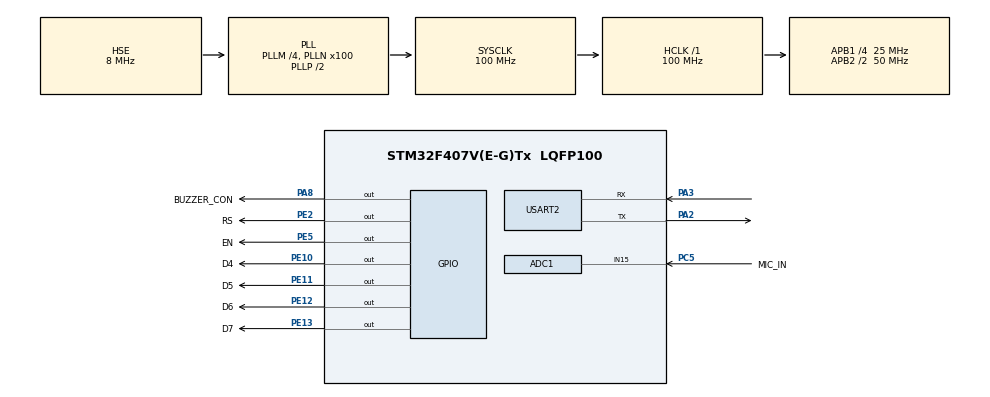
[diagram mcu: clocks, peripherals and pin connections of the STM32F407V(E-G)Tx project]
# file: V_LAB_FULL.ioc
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ADC1.Channel-0\#ChannelRegularConversion=ADC_CHANNEL_15
ADC1.ClockPrescaler=ADC_CLOCK_SYNC_PCLK_DIV8
ADC1.ContinuousConvMode=ENABLE
ADC1.NbrOfConversionFlag=1
ADC1.Rank-0\#ChannelRegularConversion=1
ADC1.SamplingTime-0\#ChannelRegularConversion=ADC_SAMPLETIME_3CYCLES
ADC1.master=1
Dma.ADC1.0.Direction=DMA_PERIPH_TO_MEMORY
Dma.ADC1.0.FIFOMode=DMA_FIFOMODE_DISABLE
Dma.ADC1.0.Instance=DMA2_Stream0
Dma.ADC1.0.MemDataAlignment=DMA_MDATAALIGN_HALFWORD
Dma.ADC1.0.MemInc=DMA_MINC_ENABLE
Dma.ADC1.0.Mode=DMA_NORMAL
Dma.ADC1.0.PeriphDataAlignment=DMA_PDATAALIGN_HALFWORD
Dma.ADC1.0.PeriphInc=DMA_PINC_DISABLE
Dma.ADC1.0.Priority=DMA_PRIORITY_LOW
Dma.Request0=ADC1
Mcu.Family=STM32F4
Mcu.Name=STM32F407V(E-G)Tx
Mcu.Package=LQFP100
NVIC.ADC_IRQn=true\:0\:0\:false\:false\:true\:true\:true\:true
NVIC.DMA2_Stream0_IRQn=true\:0\:0\:false\:false\:true\:false\:true\:true
NVIC.PriorityGroup=NVIC_PRIORITYGROUP_0
NVIC.USART2_IRQn=true\:0\:0\:false\:false\:true\:true\:true\:true
PA2.Mode=Asynchronous
PA2.Signal=USART2_TX
PA3.Mode=Asynchronous
PA3.Signal=USART2_RX
PA8.GPIO_Label=BUZZER_CON
PA8.Signal=GPIO_Output
PC5.GPIO_Label=MIC_IN
PC5.Signal=ADCx_IN15
PE10.GPIO_Label=D4
PE10.Signal=GPIO_Output
PE11.GPIO_Label=D5
PE11.Signal=GPIO_Output
PE12.GPIO_Label=D6
PE12.Signal=GPIO_Output
PE13.GPIO_Label=D7
PE13.Signal=GPIO_Output
PE2.GPIO_Label=RS
PE2.Signal=GPIO_Output
PE5.GPIO_Label=EN
PE5.Signal=GPIO_Output
PH0-OSC_IN.Mode=HSE-External-Oscillator
PH0-OSC_IN.Signal=RCC_OSC_IN
PH1-OSC_OUT.Mode=HSE-External-Oscillator
PH1-OSC_OUT.Signal=RCC_OSC_OUT
ProjectManager.HeapSize=0x200
ProjectManager.StackSize=0x400
ProjectManager.TargetToolchain=STM32CubeIDE
RCC.48MHZClocksFreq_Value=28571428.57142857
RCC.AHBFreq_Value=100000000
RCC.APB1CLKDivider=RCC_HCLK_DIV4
RCC.APB1Freq_Value=25000000
RCC.APB1TimFreq_Value=50000000
RCC.APB2CLKDivider=RCC_HCLK_DIV2
RCC.APB2Freq_Value=50000000
RCC.APB2TimFreq_Value=100000000
RCC.CortexFreq_Value=100000000
RCC.HCLKFreq_Value=100000000
RCC.HSE_VALUE=8000000
RCC.HSI_VALUE=16000000
RCC.LSE_VALUE=32768
RCC.PLLM=4
RCC.PLLN=100
RCC.PLLQ=7
RCC.PLLSourceVirtual=RCC_PLLSOURCE_HSE
RCC.SYSCLKFreq_VALUE=100000000
RCC.SYSCLKSource=RCC_SYSCLKSOURCE_PLLCLK
RCC.VCOOutputFreq_Value=200000000
SH.ADCx_IN15.0=ADC1_IN15,IN15
USART2.VirtualMode=VM_ASYNC
board=STM32F407G-DISC1

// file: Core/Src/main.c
  /* USER CODE BEGIN Header */

/**
  ******************************************************************************
  * @file           : main.c
  * @brief          : Main program body
  ******************************************************************************
  * @attention
  *
  * Copyright (c) 2023 STMicroelectronics.
  * All rights reserved.
  *
  * This software is licensed under terms that can be found in the LICENSE file
  * in the root directory of this software component.
  * If no LICENSE file comes with this software, it is provided AS-IS.
  *
  ******************************************************************************
  */
/* USER CODE END Header */
#include "main.h"
#include "string.h"
#include "math.h"

/* USER CODE BEGIN Includes */
#include "STM_MY_LCD16X2.h"

/* USER CODE END Includes */

ADC_HandleTypeDef hadc1;
DMA_HandleTypeDef hdma_adc1;

UART_HandleTypeDef huart2;

void SystemClock_Config(void);
static void MX_GPIO_Init(void);
static void MX_DMA_Init(void);
static void MX_ADC1_Init(void);
static void MX_USART2_UART_Init(void);
/* USER CODE BEGIN PFP */
void analog_read();
/* USER CODE END PFP */

/* USER CODE BEGIN 0 */
uint8_t receive_data[350];
uint8_t transmit_data1[27]="****HCDVB02CID2COMP001A####";
uint8_t transmit_data2[35]="****RDAVM12VB02CID2COMP001AXXXX####";

uint8_t RCD_VMUID[4];
uint8_t RCD_TOF[3];
uint8_t RCD_PAYLOAD[10];

uint8_t HDD_VMUID[4];
uint8_t HDD_VBUID[4];
uint8_t HDD_CID[4];
uint8_t HDD_TOF[3];
uint8_t HDD_PAYLOAD[10];

uint8_t RLD_VMUID[4];
uint8_t RLD_VBUID[4];
uint8_t RLD_CID[3];
uint8_t RLD_TOF[3];
uint8_t RLD_PAYLOAD_INT[8];
uint8_t RLD_PAYLOAD_INFO[13];

uint8_t RCD_flag,HDD_flag,RLD_flag,flag_HCD,flag_RDA;
uint8_t state=1;

uint8_t flag1,flag2,i,j,l;

uint32_t raw_value[1],live_data;

/* USER CODE END 0 */

int main(void)
{

  /* MCU Configuration--------------------------------------------------------*/

  /* Reset of all peripherals, Initializes the Flash interface and the Systick. */
  HAL_Init();

  /* Configure the system clock */
  SystemClock_Config();

  /* Initialize all configured peripherals */
  MX_GPIO_Init();
  MX_DMA_Init();
  MX_ADC1_Init();
  MX_USART2_UART_Init();
  /* USER CODE BEGIN 2 */
  LCD1602_Begin4BIT(RS_GPIO_Port, RS_Pin, EN_Pin, D4_GPIO_Port, D4_Pin, D5_Pin, D6_Pin, D7_Pin);
  LCD1602_setCursor(1,1);// 0x80RS
  LCD1602_print("VLAB_PROJECT");
  LCD1602_setCursor(2,1);// 0xC0
  LCD1602_print("V_LAB_COM");
  HAL_Delay(5000);
  LCD1602_clear();

  HAL_UART_Receive_IT(&huart2, receive_data, 251);
  HAL_UART_Transmit_IT(&huart2, transmit_data1, 247);
  HAL_UART_Transmit_IT(&huart2, transmit_data2, 35);

  /* USER CODE END 2 */

  /* Infinite loop */
  while (1)
  {

    /* USER CODE BEGIN 3 */
	switch(state)
	{
	case 1://when request configuration  data or hardware demand data or request live data frame is received from VM to VB
		if(RCD_flag==1)
		{
			state=2;
		}
		else if(HDD_flag==1)
		{
			state=3;
		}
		else if(RLD_flag==1)
		{
			analog_read();
			state=4;
		}
		break;

	case 2:  // to transmit transmit data1
		flag_HCD=1;

		break;

	case 3: // setting the GPIO pin of buzzer
		if((HDD_PAYLOAD[0]=='C' && HDD_PAYLOAD[0]=='O' && HDD_PAYLOAD[0]=='M' && HDD_PAYLOAD[0]=='P' && HDD_PAYLOAD[0]=='0' && HDD_PAYLOAD[0]=='0' && HDD_PAYLOAD[0]=='1' && HDD_PAYLOAD[0]=='A') && (HDD_PAYLOAD[0]=='C' && HDD_PAYLOAD[0]=='O' && HDD_PAYLOAD[0]=='M' && HDD_PAYLOAD[0]=='P' && HDD_PAYLOAD[0]=='0' && HDD_PAYLOAD[0]=='0' && HDD_PAYLOAD[0]=='1' && HDD_PAYLOAD[0]=='B'))
		{
	    HAL_GPIO_WritePin(BUZZER_CON_GPIO_Port, BUZZER_CON_Pin, GPIO_PIN_SET);
	    //HAL_GPIO_WritePin(LED_CON_GPIO_Port, LED_CON_Pin, GPIO_PIN_SET);
		HDD_flag=0;
		}
		break;

	case 4://To transmit the requested live data
		flag_RDA=1;

		break;

	}
  }
  return 0;
}

  /* USER CODE END 3 */

void SystemClock_Config(void)
{
  RCC_OscInitTypeDef RCC_OscInitStruct = {0};
  RCC_ClkInitTypeDef RCC_ClkInitStruct = {0};

  /** Configure the main internal regulator output voltage
  */
  __HAL_RCC_PWR_CLK_ENABLE();
  __HAL_PWR_VOLTAGESCALING_CONFIG(PWR_REGULATOR_VOLTAGE_SCALE1);

  /** Initializes the RCC Oscillators according to the specified parameters
  * in the RCC_OscInitTypeDef structure.
  */
  RCC_OscInitStruct.OscillatorType = RCC_OSCILLATORTYPE_HSE;
  RCC_OscInitStruct.HSEState = RCC_HSE_ON;
  RCC_OscInitStruct.PLL.PLLState = RCC_PLL_ON;
  RCC_OscInitStruct.PLL.PLLSource = RCC_PLLSOURCE_HSE;
  RCC_OscInitStruct.PLL.PLLM = 4;
  RCC_OscInitStruct.PLL.PLLN = 100;
  RCC_OscInitStruct.PLL.PLLP = RCC_PLLP_DIV2;
  RCC_OscInitStruct.PLL.PLLQ = 7;
  if (HAL_RCC_OscConfig(&RCC_OscInitStruct) != HAL_OK)
  {
    Error_Handler();
  }

  /** Initializes the CPU, AHB and APB buses clocks
  */
  RCC_ClkInitStruct.ClockType = RCC_CLOCKTYPE_HCLK|RCC_CLOCKTYPE_SYSCLK
                              |RCC_CLOCKTYPE_PCLK1|RCC_CLOCKTYPE_PCLK2;
  RCC_ClkInitStruct.SYSCLKSource = RCC_SYSCLKSOURCE_PLLCLK;
  RCC_ClkInitStruct.AHBCLKDivider = RCC_SYSCLK_DIV1;
  RCC_ClkInitStruct.APB1CLKDivider = RCC_HCLK_DIV4;
  RCC_ClkInitStruct.APB2CLKDivider = RCC_HCLK_DIV2;

  if (HAL_RCC_ClockConfig(&RCC_ClkInitStruct, FLASH_LATENCY_3) != HAL_OK)
  {
    Error_Handler();
  }
}

static void MX_ADC1_Init(void)
{

  ADC_ChannelConfTypeDef sConfig = {0};

  /** Configure the global features of the ADC (Clock, Resolution, Data Alignment and number of conversion)
  */
  hadc1.Instance = ADC1;
  hadc1.Init.ClockPrescaler = ADC_CLOCK_SYNC_PCLK_DIV8;
  hadc1.Init.Resolution = ADC_RESOLUTION_12B;
  hadc1.Init.ScanConvMode = DISABLE;
  hadc1.Init.ContinuousConvMode = ENABLE;
  hadc1.Init.DiscontinuousConvMode = DISABLE;
  hadc1.Init.ExternalTrigConvEdge = ADC_EXTERNALTRIGCONVEDGE_NONE;
  hadc1.Init.ExternalTrigConv = ADC_SOFTWARE_START;
  hadc1.Init.DataAlign = ADC_DATAALIGN_RIGHT;
  hadc1.Init.NbrOfConversion = 1;
  hadc1.Init.DMAContinuousRequests = DISABLE;
  hadc1.Init.EOCSelection = ADC_EOC_SINGLE_CONV;
  if (HAL_ADC_Init(&hadc1) != HAL_OK)
  {
    Error_Handler();
  }

  /** Configure for the selected ADC regular channel its corresponding rank in the sequencer and its sample time.
  */
  sConfig.Channel = ADC_CHANNEL_15;
  sConfig.Rank = 1;
  sConfig.SamplingTime = ADC_SAMPLETIME_3CYCLES;
  if (HAL_ADC_ConfigChannel(&hadc1, &sConfig) != HAL_OK)
  {
    Error_Handler();
  }

}

static void MX_USART2_UART_Init(void)
{

  huart2.Instance = USART2;
  huart2.Init.BaudRate = 115200;
  huart2.Init.WordLength = UART_WORDLENGTH_8B;
  huart2.Init.StopBits = UART_STOPBITS_1;
  huart2.Init.Parity = UART_PARITY_NONE;
  huart2.Init.Mode = UART_MODE_TX_RX;
  huart2.Init.HwFlowCtl = UART_HWCONTROL_NONE;
  huart2.Init.OverSampling = UART_OVERSAMPLING_16;
  if (HAL_UART_Init(&huart2) != HAL_OK)
  {
    Error_Handler();
  }

}

static void MX_DMA_Init(void)
{

  /* DMA controller clock enable */
  __HAL_RCC_DMA2_CLK_ENABLE();

  /* DMA interrupt init */
  /* DMA2_Stream0_IRQn interrupt configuration */
  HAL_NVIC_SetPriority(DMA2_Stream0_IRQn, 0, 0);
  HAL_NVIC_EnableIRQ(DMA2_Stream0_IRQn);

}

static void MX_GPIO_Init(void)
{
  GPIO_InitTypeDef GPIO_InitStruct = {0};

  /* GPIO Ports Clock Enable */
  __HAL_RCC_GPIOE_CLK_ENABLE();
  __HAL_RCC_GPIOH_CLK_ENABLE();
  __HAL_RCC_GPIOA_CLK_ENABLE();
  __HAL_RCC_GPIOC_CLK_ENABLE();

  /*Configure GPIO pin Output Level */
  HAL_GPIO_WritePin(GPIOE, RS_Pin|EN_Pin|D4_Pin|D5_Pin
                          |D6_Pin|D7_Pin, GPIO_PIN_RESET);

  /*Configure GPIO pin Output Level */
  HAL_GPIO_WritePin(BUZZER_CON_GPIO_Port, BUZZER_CON_Pin, GPIO_PIN_RESET);

  /*Configure GPIO pins : RS_Pin EN_Pin D4_Pin D5_Pin
                           D6_Pin D7_Pin */
  GPIO_InitStruct.Pin = RS_Pin|EN_Pin|D4_Pin|D5_Pin
                          |D6_Pin|D7_Pin;
  GPIO_InitStruct.Mode = GPIO_MODE_OUTPUT_PP;
  GPIO_InitStruct.Pull = GPIO_NOPULL;
  GPIO_InitStruct.Speed = GPIO_SPEED_FREQ_LOW;
  HAL_GPIO_Init(GPIOE, &GPIO_InitStruct);

  /*Configure GPIO pin : BUZZER_CON_Pin */
  GPIO_InitStruct.Pin = BUZZER_CON_Pin;
  GPIO_InitStruct.Mode = GPIO_MODE_OUTPUT_PP;
  GPIO_InitStruct.Pull = GPIO_NOPULL;
  GPIO_InitStruct.Speed = GPIO_SPEED_FREQ_LOW;
  HAL_GPIO_Init(BUZZER_CON_GPIO_Port, &GPIO_InitStruct);

}

/* USER CODE BEGIN 4 */

void HAL_UART_RxCpltCallback(UART_HandleTypeDef *huart)
{
	HAL_UART_Receive_IT(&huart2, receive_data,251);

	l=strlen((char*)receive_data);

	//If Request_Config_Data Frame is received
			if(receive_data[0]=='*' && receive_data[1]=='*' && receive_data[2]=='*' && receive_data[3]=='*' && receive_data[4]=='R' && receive_data[5]=='C' && receive_data[6]=='D'  && receive_data[l-4]=='#' && receive_data[l-3]=='#' && receive_data[l-2]=='#' && receive_data[l-1]=='#')
							  {

								RCD_flag=1;

								  //RCD_TOF
							  for(i=4,j=0;i<7;i++,j++)
								  RCD_TOF[j]=receive_data[i];

							  	  //RCD_VMUID
							  for(i=7,j=0;i<11;i++,j++)
								  RCD_VMUID[j]=receive_data[i];

							  	  //Data
							  for(i=11,j=0;i<21;i++,j++)
								  RCD_PAYLOAD[j]=receive_data[i];
							  }

			//If demand_data is received
			else if(receive_data[0]=='*' && receive_data[1]=='*' && receive_data[2]=='*' && receive_data[3]=='*' && receive_data[4]=='H' && receive_data[5]=='D' && receive_data[6]=='D'  && receive_data[l-4]=='#' && receive_data[l-3]=='#' && receive_data[l-2]=='#' && receive_data[l-1]=='#')
								  {

									HDD_flag=1;
									  //HDD_TOF
								  for(i=4,j=0;i<7;i++,j++)
									  HDD_TOF[j]=receive_data[i];

								  	  //HDD_VMUID
								  for(i=7,j=0;i<11;i++,j++)
									  HDD_VMUID[j]=receive_data[i];

								  //HDD_VBUID
								  for(i=11,j=0;i<15;i++,j++)
									  HDD_VBUID[j]=receive_data[i];

								  //HDD_CID
								  for(i=15,j=0;i<19;i++,j++)
									  HDD_VBUID[j]=receive_data[i];

								  //HDD_Data ; Assuming only COMP001A(BUZZER) is received
								  for(i=19,j=0;receive_data[i]!='#';i++,j++)
									  HDD_PAYLOAD[j]=receive_data[i];

								  }

			//If Request_Live_data Frame is received
			else if(receive_data[0]=='*' && receive_data[1]=='*' && receive_data[2]=='*' && receive_data[3]=='*' && receive_data[4]=='R' && receive_data[5]=='L' && receive_data[6]=='D'  && receive_data[l-4]=='#' && receive_data[l-3]=='#' && receive_data[l-2]=='#' && receive_data[l-1]=='#')
									  {

											RLD_flag=1;
										  //RLD_TOF
									  for(i=4,j=0;i<7;i++,j++)
										  RLD_TOF[j]=receive_data[i];

									  	  //RLD_VMUID
									  for(i=7,j=0;i<11;i++,j++)
										  RLD_VMUID[j]=receive_data[i];

									  //RLD_VBUID
									  for(i=11,j=0;i<15;i++,j++)
										  RLD_VBUID[j]=receive_data[i];

									  //RLD_CID
									  for(i=15,j=0;i<19;i++,j++)
										  RLD_VBUID[j]=receive_data[i];

									  	  //RLD_Data1
									  for(i=19,j=0;i<27;i++,j++)
										  RLD_PAYLOAD_INT[j]=receive_data[i];

									  //RLD_Data2
									  for(i=27,j=0;i<40;i++,j++)
										  RLD_PAYLOAD_INFO[j]=receive_data[i];
									  }

}

void HAL_UART_TxCpltCallback(UART_HandleTypeDef *huart)
{
	if(flag_HCD==1)
	{
	HAL_UART_Transmit_IT(&huart2, transmit_data1, 27);
	flag_HCD=0;
	}

	if(flag_RDA==1)
	{
	HAL_UART_Transmit_IT(&huart2, transmit_data2, 35);
	flag_RDA=0;
	}
}

void analog_read()
		{
	// Read analog value from MIC
				HAL_ADC_Start_DMA(&hadc1, raw_value, 1);

				transmit_data2[27]=raw_value[0]%10;
				live_data/=10;
				transmit_data2[28]=raw_value[0]%10;
				live_data/=10;
				transmit_data2[29]=raw_value[0]%10;
				live_data/=10;
				transmit_data2[30]=raw_value[0]%10;

		}

/* USER CODE END 4 */

void Error_Handler(void)
{
  __disable_irq();
  while (1)
  {
  }
}
